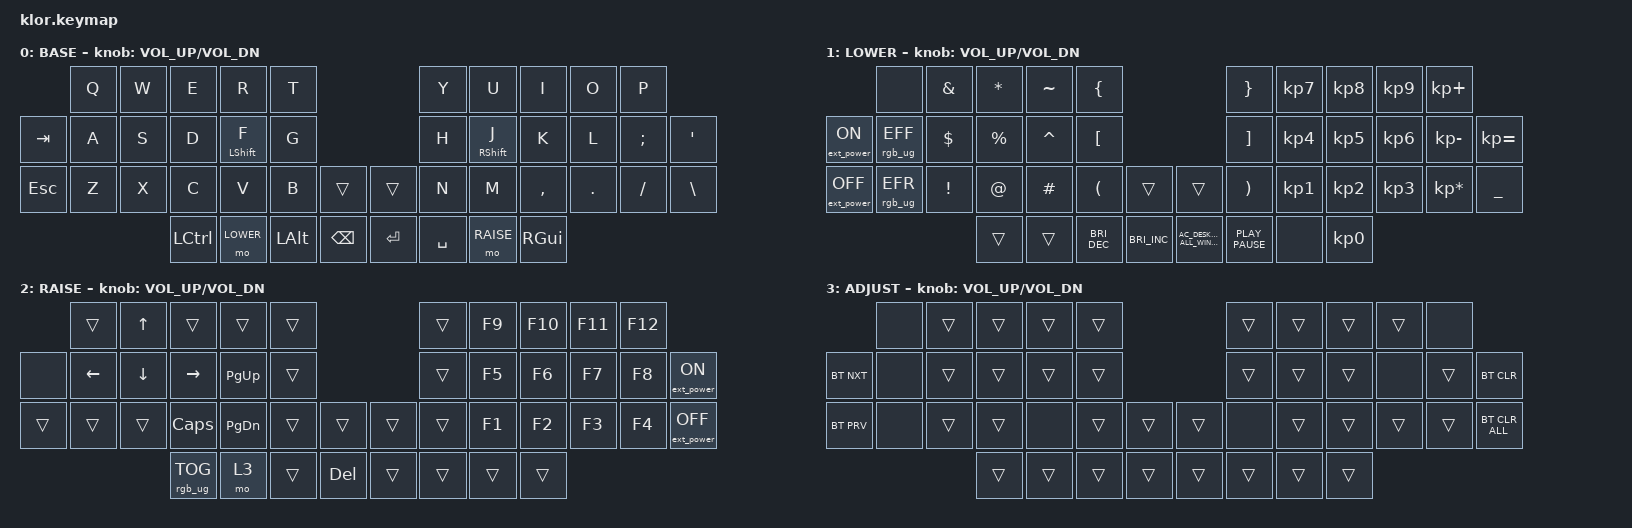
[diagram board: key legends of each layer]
//                               █         █    █            ▄▄▄▀▀▀▀▀▀▄▄▄        █▀▀▀▀▀▀▀▀▀▀█
//                               █        █     █          ▄▀            ▀▄      █          █
//                               █       █      █        ▄▀                ▀▄    █          █
//                               █      █       █        █                  █    █          █
//                               █     █        █       █                    █   █          █
//                               █    █         █       █                    █   █▄▄▄▄▄▄▄▄▄▄█
//                               █   █ █        █       █                    █   █      █
//                               █  █   █       █        █                  █    █       █
//                               █ █     █      █        ▀▄                ▄▀    █        █
//                               ██       █     █          ▀▄            ▄▀      █         █
//                               █         █    █▄▄▄▄▄▄▄▄    ▀▀▀▄▄▄▄▄▄▀▀▀        █          █
//
// ▄▄▄▄▄▄▄▄▄▄▄▄▄▄▄▄▄▄▄▄▄▄▄▄▄▄▄▄▄▄▄▄▄▄▄▄▄▄▄▄▄▄▄▄▄▄▄▄▄▄▄▄▄▄▄▄▄▄▄▄▄▄▄▄▄▄▄▄▄▄▄▄▄▄▄▄▄▄▄▄▄▄▄▄▄▄▄▄▄▄▄▄▄▄▄▄▄▄▄▄▄▄▄▄▄▄▄▄▄▄▄▄▄▄▄▄▄▄▄▄▄▄▄▄▄

#include <behaviors.dtsi>
#include <dt-bindings/zmk/bt.h>
#include <dt-bindings/zmk/ext_power.h>
#include <dt-bindings/zmk/keys.h>
#include <dt-bindings/zmk/rgb.h>

#define BASE   0
#define LOWER  1
#define RAISE  2
#define ADJUST 3

/ {
    behaviors {
        hm: homerow_mods {
            compatible = "zmk,behavior-hold-tap";
            label = "HOMEROW_MODS";
            #binding-cells = <2>;
            tapping-term-ms = <250>;
            quick_tap_ms = <0>;
            flavor = "tap-preferred";
            bindings = <&kp>, <&kp>;

            quick-tap-ms = <0>;
        };
    };

    combos {
        compatible = "zmk,combos";

        combo_esc {
            timeout-ms = <50>;
            key-positions = <0 1>;
            bindings = <&kp ESC>;
        };
    };

    keymap {
        compatible = "zmk,keymap";

        // ▄▄▄▄▄▄▄▄▄▄▄▄▄▄▄▄▄▄▄▄▄▄▄▄▄▄▄▄▄▄▄▄▄▄▄▄▄▄▄▄▄▄▄▄▄▄▄▄▄▄▄▄▄▄▄▄▄▄▄▄▄▄▄▄▄▄▄▄▄▄▄▄▄▄▄▄▄▄▄▄▄▄▄▄▄▄▄▄▄▄▄▄▄▄▄▄▄▄▄▄▄▄▄▄▄▄▄▄▄▄▄▄▄▄▄▄▄▄▄▄▄▄▄▄▄▄▄▄▄▄▄▄▄▄▄▄▄▄▄▄▄▄

        base_layer {
            // ┌───────────────────────────────────────────────────────────┐

            label = "BASE";

            // └───────────────────────────────────────────────────────────┘
            /*           ┌─────────┬─────────┬─────────┬─────────┬─────────┐                    ┌─────────┬─────────┬─────────┬─────────┬─────────┐
             │    Q    │    W    │    F    │    P    │    G    │                    │    J    │    L    │    U    │    Y    │    ;    │   
   ┌─────────┼─────────┼─────────┼─────────┼─────────┼─────────┤                    ├─────────┼─────────┼─────────┼─────────┼─────────┼─────────┐
   │   TAB   │    A    │    R    │    S    │    T    │    D    │                    │    H    │    N    │    E    │    I    │    O    │    "    │
   ├─────────┼─────────┼─────────┼─────────┼─────────┼─────────┤╭────────╮╭────────╮├─────────┼─────────┼─────────┼─────────┼─────────┼─────────┤
   │   DEL   │    Z    │    X    │    C    │    V    │    B    ││  MUTE  ││PLY/PSE ││    K    │    M    │    ,    │    .    │    /    │    \    │
   └─────────┴─────────┴─────────┼─────────┼─────────┼─────────┼╰────────╯╰────────╯┼─────────┼─────────┼─────────┼─────────┴─────────┴─────────┘
                                 │  CTRL   │  LOWER  │  SPACE  │   ALT   ││ CMD/WIN │  ENTER  │  RAISE  │  BSPCE  │  
                                 └─────────┴─────────┴─────────┴─────────┘└─────────┴─────────┴─────────┴─────────┘ */

            bindings = <
            &kp Q  &kp W  &kp E      &kp R        &kp T                                   &kp Y      &kp U        &kp I          &kp O    &kp P
&kp TAB     &kp A  &kp S  &kp D      &hm LSHFT F  &kp G                                   &kp H      &hm RSHFT J  &kp K          &kp L    &kp SEMICOLON  &kp SQT
&kp ESCAPE  &kp Z  &kp X  &kp C      &kp V        &kp B         &trans         &trans     &kp N      &kp M        &kp COMMA      &kp DOT  &kp FSLH       &kp BSLH
                          &kp LCTRL  &mo LOWER    &kp LEFT_ALT  &kp BACKSPACE  &kp ENTER  &kp SPACE  &mo RAISE    &kp RIGHT_GUI
            >;

            sensor-bindings = <&inc_dec_kp C_VOL_UP C_VOL_DN>;
        };

        // ▄▄▄▄▄▄▄▄▄▄▄▄▄▄▄▄▄▄▄▄▄▄▄▄▄▄▄▄▄▄▄▄▄▄▄▄▄▄▄▄▄▄▄▄▄▄▄▄▄▄▄▄▄▄▄▄▄▄▄▄▄▄▄▄▄▄▄▄▄▄▄▄▄▄▄▄▄▄▄▄▄▄▄▄▄▄▄▄▄▄▄▄▄▄▄▄▄▄▄▄▄▄▄▄▄▄▄▄▄▄▄▄▄▄▄▄▄▄▄▄▄▄▄▄▄▄▄▄▄▄▄▄▄▄▄▄▄▄▄▄▄▄

        lower_layer {
            // ┌───────────────────────────────────────────────────────────┐

            label = "LOWER";

            // └───────────────────────────────────────────────────────────┘
            /*           ┌─────────┬─────────┬─────────┬─────────┬─────────┐                    ┌─────────┬─────────┬─────────┬─────────┬─────────┐
             │         │         │    UP   │         │    {    │                    │    }    │    7    │    8    │    9    │    +    │
   ┌─────────┼─────────┼─────────┼─────────┼─────────┼─────────┤                    ├─────────┼─────────┼─────────┼─────────┼─────────┼─────────┐
   │         │         │   LEFT  │  DOWN   │  RIGHT  │    [    │                    │    ]    │    4    │    5    │    6    │    -    │         │
   ├─────────┼─────────┼─────────┼─────────┼─────────┼─────────┤╭────────╮╭────────╮├─────────┼─────────┼─────────┼─────────┼─────────┼─────────┤
   │         │         │   P UP  │ C LOCK  │ P DOWN  │    (    ││        ││        ││    )    │    1    │    2    │    3    │    *    │         │
   └─────────┴─────────┴─────────┼─────────┼─────────┼─────────┼╰────────╯╰────────╯┼─────────┼─────────┼─────────┼─────────┴─────────┴─────────┘
                                 │         │         │         │         ││         │         │    0    │         │  
                                 └─────────┴─────────┴─────────┴─────────┘└─────────┴─────────┴─────────┴─────────┘ */

            bindings = <
                   &none            &kp AMPERSAND  &kp ASTERISK  &kp TILDE  &kp LBRC                                                                       &kp RBRC          &kp KP_N7  &kp KP_N8        &kp KP_N9  &kp KP_PLUS
&ext_power EP_ON   &rgb_ug RGB_EFF  &kp DOLLAR     &kp PERCENT   &kp CARET  &kp LBKT                                                                       &kp RBKT          &kp KP_N4  &kp KP_N5        &kp KP_N6  &kp KP_MINUS     &kp KP_EQUAL
&ext_power EP_OFF  &rgb_ug RGB_EFR  &kp EXCL       &kp AT_SIGN   &kp HASH   &kp LPAR              &trans                &trans                             &kp RPAR          &kp KP_N1  &kp KP_N2        &kp KP_N3  &kp KP_MULTIPLY  &kp UNDER
                                                   &trans        &trans     &kp C_BRIGHTNESS_DEC  &kp C_BRIGHTNESS_INC  &kp C_AC_DESKTOP_SHOW_ALL_WINDOWS  &kp K_PLAY_PAUSE  &none      &kp KP_NUMBER_0
            >;

            sensor-bindings = <&inc_dec_kp C_VOL_UP C_VOL_DN>;
        };

        // ▄▄▄▄▄▄▄▄▄▄▄▄▄▄▄▄▄▄▄▄▄▄▄▄▄▄▄▄▄▄▄▄▄▄▄▄▄▄▄▄▄▄▄▄▄▄▄▄▄▄▄▄▄▄▄▄▄▄▄▄▄▄▄▄▄▄▄▄▄▄▄▄▄▄▄▄▄▄▄▄▄▄▄▄▄▄▄▄▄▄▄▄▄▄▄▄▄▄▄▄▄▄▄▄▄▄▄▄▄▄▄▄▄▄▄▄▄▄▄▄▄▄▄▄▄

        raise_layer {
            // ┌───────────────────────────────────────────────────────────┐

            label = "RAISE";

            // └───────────────────────────────────────────────────────────┘
            /*           ┌─────────┬─────────┬─────────┬─────────┬─────────┐                    ┌─────────┬─────────┬─────────┬─────────┬─────────┐
             │         │         │         │         │         │                    │         │         │    Ü    │         │         │
   ┌─────────┼─────────┼─────────┼─────────┼─────────┼─────────┤                    ├─────────┼─────────┼─────────┼─────────┼─────────┼─────────┐
   │    Ä    │         │    ß    │         │         │         │                    │         │         │         │         │    Ö    │         │
   ├─────────┼─────────┼─────────┼─────────┼─────────┼─────────┤╭────────╮╭────────╮├─────────┼─────────┼─────────┼─────────┼─────────┼─────────┤
   │         │         │         │         │         │         ││        ││        ││         │         │         │         │         │         │
   └─────────┴─────────┴─────────┼─────────┼─────────┼─────────┼╰────────╯╰────────╯┼─────────┼─────────┼─────────┼─────────┴─────────┴─────────┘
                                 │ ADJUST  │         │         │         ││         │         │         │         │  
                                 └─────────┴─────────┴─────────┴─────────┘└─────────┴─────────┴─────────┴─────────┘ */

            bindings = <
        &trans    &kp UP_ARROW    &trans           &trans     &trans                      &trans  &kp F9  &kp F10  &kp F11  &kp F12
&none   &kp LEFT  &kp DOWN_ARROW  &kp RIGHT        &kp PG_UP  &trans                      &trans  &kp F5  &kp F6   &kp F7   &kp F8   &ext_power EP_ON
&trans  &trans    &trans          &kp CAPS         &kp PG_DN  &trans  &trans      &trans  &trans  &kp F1  &kp F2   &kp F3   &kp F4   &ext_power EP_OFF
                                  &rgb_ug RGB_TOG  &mo 3      &trans  &kp DELETE  &trans  &trans  &trans  &trans
            >;

            sensor-bindings = <&inc_dec_kp C_VOL_UP C_VOL_DN>;
        };

        // ▄▄▄▄▄▄▄▄▄▄▄▄▄▄▄▄▄▄▄▄▄▄▄▄▄▄▄▄▄▄▄▄▄▄▄▄▄▄▄▄▄▄▄▄▄▄▄▄▄▄▄▄▄▄▄▄▄▄▄▄▄▄▄▄▄▄▄▄▄▄▄▄▄▄▄▄▄▄▄▄▄▄▄▄▄▄▄▄▄▄▄▄▄▄▄▄▄▄▄▄▄▄▄▄▄▄▄▄▄▄▄▄▄▄▄▄▄▄▄▄▄▄▄▄▄

        adjust_layer {
            // ┌───────────────────────────────────────────────────────────┐

            label = "ADJUST";

            // └───────────────────────────────────────────────────────────┘
            /*           ┌─────────┬─────────┬─────────┬─────────┬─────────┐                    ┌─────────┬─────────┬─────────┬─────────┬─────────┐
             │         │         │         │         │         │                    │         │         │         │         │         │
   ┌─────────┼─────────┼─────────┼─────────┼─────────┼─────────┤                    ├─────────┼─────────┼─────────┼─────────┼─────────┼─────────┐
   │         │         │         │         │         │         │                    │         │         │         │         │         │         │
   ├─────────┼─────────┼─────────┼─────────┼─────────┼─────────┤╭────────╮╭────────╮├─────────┼─────────┼─────────┼─────────┼─────────┼─────────┤
   │         │         │         │         │         │         ││        ││        ││         │         │         │         │         │         │
   └─────────┴─────────┴─────────┼─────────┼─────────┼─────────┼╰────────╯╰────────╯┼─────────┼─────────┼─────────┼─────────┴─────────┴─────────┘
                                 │         │         │         │         ││         │         │         │         │  
                                 └─────────┴─────────┴─────────┴─────────┘└─────────┴─────────┴─────────┴─────────┘ */

            bindings = <
            &none  &trans  &trans  &trans  &trans                  &trans  &trans  &trans  &trans  &none
&bt BT_NXT  &none  &trans  &trans  &trans  &trans                  &trans  &trans  &trans  &none   &trans  &bt BT_CLR
&bt BT_PRV  &none  &trans  &trans  &none   &trans  &trans  &trans  &none   &trans  &trans  &trans  &trans  &bt BT_CLR_ALL
                           &trans  &trans  &trans  &trans  &trans  &trans  &trans  &trans
            >;

            sensor-bindings = <&inc_dec_kp C_VOL_UP C_VOL_DN>;
        };
    };
};
